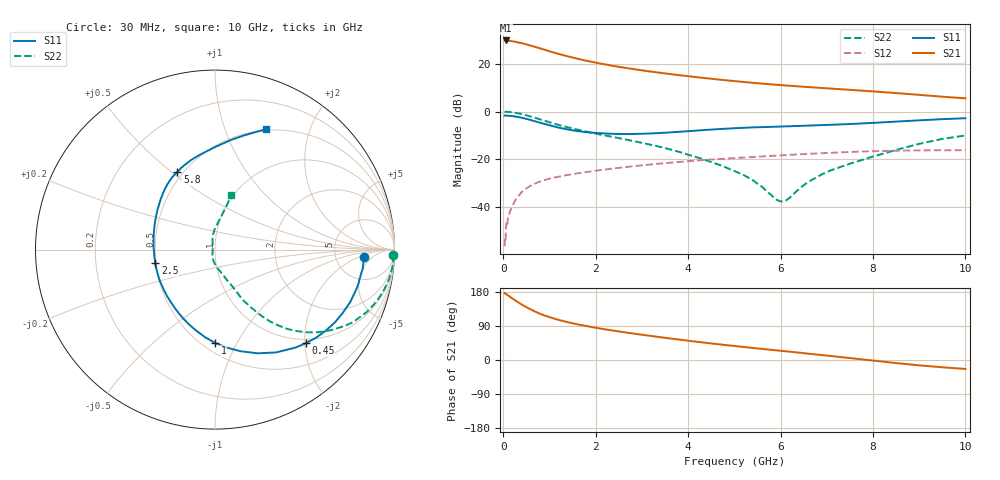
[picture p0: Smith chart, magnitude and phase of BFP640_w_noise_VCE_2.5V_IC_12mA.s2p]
! (c) 2013  Infineon Technologies AG, Munich
! Infineon Technologies  Discrete & RF Semiconductors
! BFP640
! VCE =  2.5 V,  IC =  12 mA
! Common Emitter S-Parameters:  Apr 2013
# GHz  S  MA  R  50
!  f  S11  S21  S12  S22
! GHz  MAG  ANG  MAG  ANG  MAG  ANG  MAG  ANG
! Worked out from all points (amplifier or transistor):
!   99 points, 30 MHz to 10 GHz, reference 50 ohm
!   highest |S21| = 29.9 dB at 50 MHz (marker M1)
!   |S21| within 3 dB of that: start of sweep to 741 MHz
!   unconditionally stable (mu >= 1): 3.509 GHz to end of sweep
!   at 350 MHz: K = 0.16, MSG = 32.0 dB, |S12| = -34.9 dB
!   at 3.5 GHz: K = 1.00, MSG = 18.8 dB, |S12| = -21.6 dB
!   at 10 GHz: K = 1.09, MAG = 9.1 dB, |S12| = -16.2 dB
!   lowest NFmin = 0.69 dB at 450 MHz
!   S11 on the Smith chart (normalised r, x): 30 MHz: 10, -3; 450 MHz: 0.91, -2.02; 1 GHz: 0.57, -0.82; 2.5 GHz: 0.50, -0.09; 5.8 GHz: 0.47, +0.53; 10 GHz: 0.49, +1.40
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0.03  0.8291 -3.0  31.08 176.6  0.0015 110.2  0.9922 -1.8
0.05  0.8298 -5.2  31.33 175.2  0.0021 89.1  0.9933 -3.2
0.15  0.817 -16.0  30.61 166.4  0.0083 78.6  0.9818 -10.0
0.25  0.7945 -26.3  29.56 158.0  0.0133 79.1  0.9533 -16.3
0.35  0.7643 -36.3  28.14 150.2  0.0179 74.7  0.9139 -22.4
0.45  0.7263 -45.9  26.77 142.8  0.0225 69.7  0.8677 -27.8
0.6  0.6664 -59.3  24.32 133.1  0.0282 64.7  0.7892 -34.6
0.7  0.625 -67.6  22.78 127.3  0.0314 61.7  0.7382 -38.6
0.8  0.5844 -75.8  21.35 121.9  0.0342 58.4  0.6887 -42.0
1  0.5197 -90.0  18.59 113.2  0.0392 54.5  0.6006 -47.5
1.1  0.49 -96.7  17.42 109.3  0.0413 53.0  0.5621 -49.5
1.3  0.4423 -108.9  15.36 102.7  0.0452 50.4  0.4968 -52.9
1.7  0.3804 -131.0  12.37 91.9  0.0524 47.3  0.4006 -57.0
2.1  0.3536 -150.3  10.28 83.0  0.0593 44.5  0.3312 -60.5
2.5  0.341 -167.1  8.767 75.4  0.0662 42.1  0.2789 -62.4
3.4  0.3575 161.4  6.546 60.2  0.0814 36.4  0.1819 -68.7
4.2  0.4023 140.6  5.288 48.0  0.0944 30.6  0.1093 -80.7
5.1  0.4543 124.8  4.303 35.6  0.1075 24.2  0.0516 -103.4
5.8  0.4813 115.8  3.749 26.8  0.1178 19.2  0.0178 -138.0
6.7  0.515 105.4  3.241 15.5  0.1316 11.9  0.0381 110.3
8.5  0.6199 81.3  2.461 -8.1  0.1517 -4.7  0.1576 82.8
10  0.7293 66.9  1.907 -23.6  0.1556 -15.9  0.3166 73.7
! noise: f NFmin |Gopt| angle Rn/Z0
0.45  0.69  0.21  8  0.03
0.9  0.7  0.2  17  0.04
1.5  0.72  0.18  28  0.05
1.9  0.74  0.14  47  0.05
2.4  0.78  0.12  58  0.06
3.5  0.9  0.11  69  0.08
5.5  1.11  0.21  -115  0.11
10  1.67  0.58  -59  0.41
